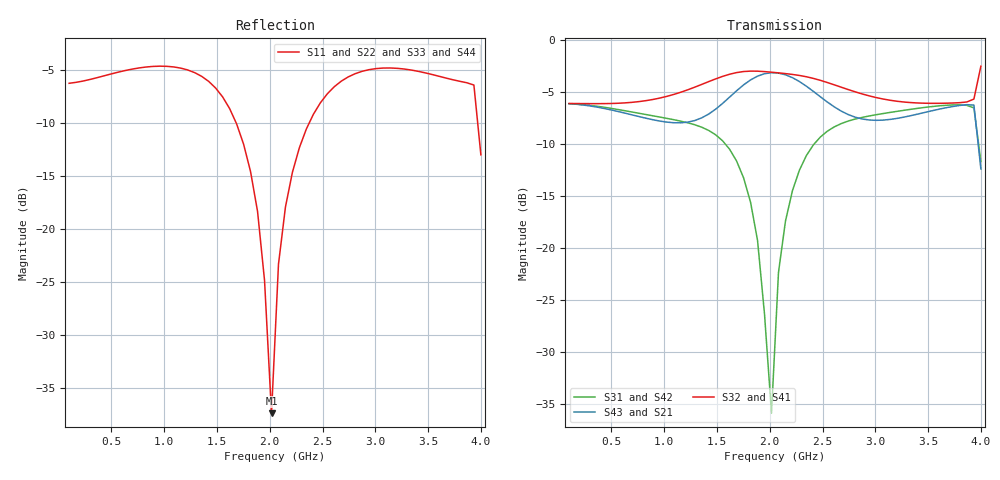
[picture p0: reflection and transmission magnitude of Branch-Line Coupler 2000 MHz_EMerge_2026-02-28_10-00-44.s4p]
! Generated by EMerge - 4-port S-parameters
! File generated: 2026-02-28 10:00
! --- Branch-Line Coupler 2000 MHz ---
! Substrate: RO4003C
! h = 0.508 mm
! W50 = 1.1 mm, W35 = 1.85 mm
! L35 = 22.2 mm, L50 = 22.2 mm
! L_feed = 5 mm
! Run time = 2.47 min
# GHZ S RI R 50
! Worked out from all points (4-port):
!   60 points, 100 MHz to 4 GHz, reference 50 ohm
!   strongest paths, dB at 100 MHz, 1.092 GHz, 2.083 GHz, 3.075 GHz, 4 GHz:
!     S32: -6.1, -5.3, -3.2, -5.7, -2.5
!     S41: -6.1, -5.3, -3.2, -5.7, -2.5
!     S43: -6.2, -8.0, -3.2, -7.7, -12.4
!     S21: -6.2, -8.0, -3.2, -7.7, -12.6
!     S31: -6.2, -7.7, -22.4, -7.1, -11.7
!     S42: -6.2, -7.7, -22.3, -7.1, -11.2
!   lowest |S11| = -37.4 dB at 2.017 GHz (marker M1), VSWR 1.03, Z = 50.2 - j1.34 ohm
!   |S11| at or under -10 dB: 1.682 GHz to 2.375 GHz (692.6 MHz wide, 34.1 % of centre); 3.97 GHz to end of sweep
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0.1  -0.4859 0.0153  0.4875 -0.0681  0.4866 -0.0765  0.4855 -0.0891
     0.4875 -0.0681  -0.4859 0.0153  0.4855 -0.0892  0.4866 -0.0765
     0.4866 -0.0765  0.4855 -0.0892  -0.4859 0.0154  0.4875 -0.0681
     0.4855 -0.0891  0.4866 -0.0765  0.4875 -0.0681  -0.4859 0.0154
1.620339  0.0669 0.3632  -0.0191 -0.5298  -0.2679 -0.1292  -0.6759 -0.0943
          -0.0191 -0.5298  0.0659 0.3641  -0.6758 -0.0943  -0.267 -0.1299
          -0.2679 -0.1292  -0.6758 -0.0943  0.0681 0.3637  -0.0185 -0.5295
          -0.6759 -0.0943  -0.267 -0.1299  -0.0185 -0.5295  0.0671 0.3639
1.884746  0.0845 0.0865  -0.329 -0.5814  -0.1044 0.0292  -0.6184 0.34
          -0.329 -0.5814  0.0841 0.0882  -0.6184 0.3399  -0.1043 0.0278
          -0.1044 0.0292  -0.6184 0.3399  0.0851 0.0869  -0.3285 -0.5816
          -0.6184 0.3401  -0.1043 0.0278  -0.3285 -0.5816  0.0842 0.0876
2.016949  0.00229 -0.0133  -0.5038 -0.4769  0.00652 -0.0146  -0.4798 0.5065
          -0.5038 -0.4769  0.0024 -0.0115  -0.4799 0.5064  0.00609 -0.016
          0.00652 -0.0146  -0.4799 0.5064  0.00253 -0.0126  -0.5034 -0.4773
          -0.4798 0.5065  0.0061 -0.016  -0.5034 -0.4773  0.00172 -0.0117
2.149153  -0.1079 -0.0671  -0.6071 -0.3018  0.0514 -0.1242  -0.3029 0.6165
          -0.6071 -0.3018  -0.1074 -0.0655  -0.303 0.6166  0.0505 -0.1252
          0.0514 -0.1242  -0.303 0.6166  -0.1078 -0.0659  -0.6069 -0.3023
          -0.3029 0.6165  0.0505 -0.1252  -0.6069 -0.3023  -0.1084 -0.0648
2.479661  -0.3924 0.0243  -0.5268 0.0687  -0.1526 -0.3046  0.1827 0.6107
          -0.5268 0.0687  -0.3916 0.0255  0.1829 0.6109  -0.1536 -0.3045
          -0.1526 -0.3046  0.1828 0.6109  -0.3915 0.0265  -0.5272 0.0681
          0.1827 0.6107  -0.1536 -0.3045  -0.5272 0.0681  -0.3914 0.0278
4  -0.0616 0.2149  -0.0123 0.2339  -0.1314 0.2238  -0.0452 -0.7473
   -0.0129 0.2344  -0.0728 0.2395  -0.0608 -0.743  -0.1282 0.2423
   -0.1319 0.2239  -0.0607 -0.7434  -0.0747 0.2247  -0.0103 0.2385
   -0.0453 -0.7466  -0.1277 0.2424  -0.00992 0.239  -0.0561 0.2415
